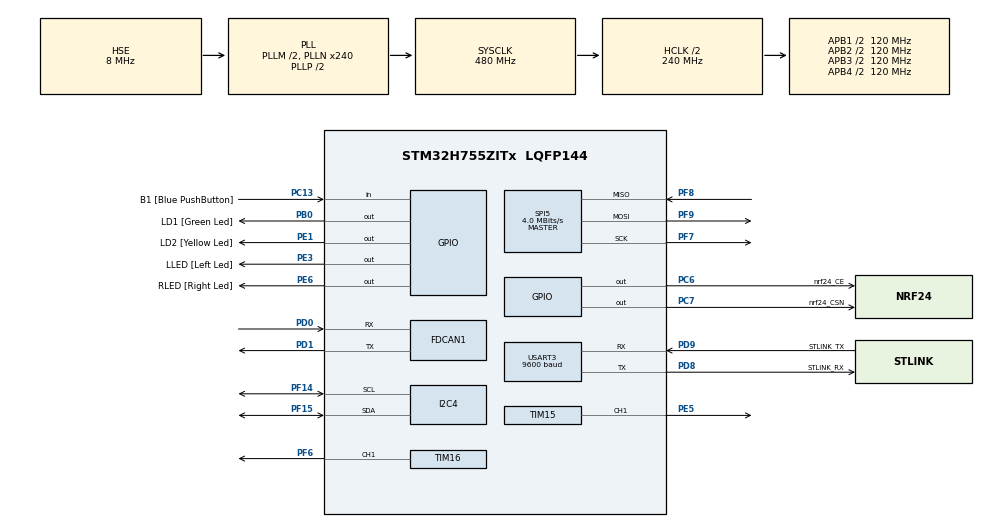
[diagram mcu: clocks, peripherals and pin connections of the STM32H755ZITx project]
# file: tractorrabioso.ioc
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CortexM4.IPs=BDMA,CORTEX_M4\:I,DEBUG,DMA,FATFS_M4\:I,FREERTOS_M4\:I,GPIO,IWDG2\:I,MDMA,NVIC2\:I,OPENAMP_M4\:I,PDM2PCM_M4\:I,PWR,RCC,RESMGR_UTILITY,SYS_M4\:I,USB_DEVICE_M4\:I,USB_HOST_M4\:I,VREFBUF,WWDG2\:I,USART3
CortexM4.Pins=PE1
CortexM7.IPs=BDMA\:I,CORTEX_M7\:I,DEBUG\:I,DMA\:I,FATFS_M7\:I,FREERTOS_M7\:I,GPIO\:I,IWDG1\:I,MDMA\:I,NVIC1\:I,OPENAMP_M7\:I,PDM2PCM_M7\:I,PWR\:I,RCC\:I,RESMGR_UTILITY\:I,SYS\:I,USB_DEVICE_M7\:I,USB_HOST_M7\:I,VREFBUF\:I,WWDG1\:I,USART3\:I,SPI5\:I,TIM16\:I,TIM15\:I,FDCAN1\:I,I2C4\:I,TIM12\:I
CortexM7.Pins=PE3,PE6,PC13,PB0,PC6,PC7
FDCAN1.CalculateBaudRateNominal=500000
FDCAN1.CalculateTimeBitNominal=2000
FDCAN1.CalculateTimeQuantumNominal=50.0
FDCAN1.NominalPrescaler=2
FDCAN1.NominalSyncJumpWidth=8
FDCAN1.NominalTimeSeg1=0x1F
FDCAN1.NominalTimeSeg2=8
FDCAN1.ProtocolException=ENABLE
FDCAN1.RxFifo0ElmtsNbr=1
FDCAN1.StdFiltersNbr=1
FDCAN1.TxFifoQueueElmtsNbr=1
I2C4.Timing=0x00404C74
Mcu.Family=STM32H7
Mcu.Name=STM32H755ZITx
Mcu.Package=LQFP144
NVIC1.PriorityGroup=NVIC_PRIORITYGROUP_4
NVIC1.TIM8_BRK_TIM12_IRQn=true\:0\:0\:false\:false\:true\:true\:true\:true
NVIC2.PriorityGroup=NVIC_PRIORITYGROUP_4
PA13\ (JTMS/SWDIO).GPIO_Label=DEBUG_SWDIO
PA13\ (JTMS/SWDIO).Mode=Serial_Wire
PA13\ (JTMS/SWDIO).PinAttribute=CortexM7
PA13\ (JTMS/SWDIO).Signal=DEBUG_JTMS-SWDIO
PA14\ (JTCK/SWCLK).GPIO_Label=DEBUG_SWCLK
PA14\ (JTCK/SWCLK).Mode=Serial_Wire
PA14\ (JTCK/SWCLK).PinAttribute=CortexM7
PA14\ (JTCK/SWCLK).Signal=DEBUG_JTCK-SWCLK
PB0.GPIO_Label=LD1 [Green Led]
PB0.PinAttribute=CortexM7
PB0.Signal=GPIO_Output
PC13.GPIO_Label=B1 [Blue PushButton]
PC13.PinAttribute=CortexM7
PC13.Signal=GPIO_Input
PC14-OSC32_IN\ (OSC32_IN).Mode=LSE-External-Oscillator
PC14-OSC32_IN\ (OSC32_IN).PinAttribute=CortexM7
PC14-OSC32_IN\ (OSC32_IN).Signal=RCC_OSC32_IN
PC15-OSC32_OUT\ (OSC32_OUT).Mode=LSE-External-Oscillator
PC15-OSC32_OUT\ (OSC32_OUT).PinAttribute=CortexM7
PC15-OSC32_OUT\ (OSC32_OUT).Signal=RCC_OSC32_OUT
PC6.GPIO_Label=nrf24_CE
PC6.PinAttribute=CortexM7
PC6.Signal=GPIO_Output
PC7.GPIO_Label=nrf24_CSN
PC7.PinAttribute=CortexM7
PC7.Signal=GPIO_Output
PD0.Mode=FDCAN_Activate
PD0.PinAttribute=CortexM7
PD0.Signal=FDCAN1_RX
PD1.Mode=FDCAN_Activate
PD1.PinAttribute=CortexM7
PD1.Signal=FDCAN1_TX
PD8.GPIO_Label=STLINK_RX
PD8.Mode=Asynchronous
PD8.PinAttribute=CortexM7
PD8.Signal=USART3_TX
PD9.GPIO_Label=STLINK_TX
PD9.Mode=Asynchronous
PD9.PinAttribute=CortexM7
PD9.Signal=USART3_RX
PE1.GPIO_Label=LD2 [Yellow Led]
PE1.PinAttribute=CortexM4
PE1.Signal=GPIO_Output
PE3.GPIO_Label=LLED [Left Led]
PE3.PinAttribute=CortexM7
PE3.Signal=GPIO_Output
PE5.PinAttribute=CortexM7
PE5.Signal=S_TIM15_CH1
PE6.GPIO_Label=RLED [Right Led]
PE6.PinAttribute=CortexM7
PE6.Signal=GPIO_Output
PF14.Mode=I2C
PF14.PinAttribute=CortexM7
PF14.Signal=I2C4_SCL
PF15.Mode=I2C
PF15.PinAttribute=CortexM7
PF15.Signal=I2C4_SDA
PF6.PinAttribute=CortexM7
PF6.Signal=S_TIM16_CH1
PF7.Mode=Full_Duplex_Master
PF7.PinAttribute=CortexM7
PF7.Signal=SPI5_SCK
PF8.Mode=Full_Duplex_Master
PF8.PinAttribute=CortexM7
PF8.Signal=SPI5_MISO
PF9.Mode=Full_Duplex_Master
PF9.PinAttribute=CortexM7
PF9.Signal=SPI5_MOSI
PH0-OSC_IN\ (PH0).Mode=HSE-External-Clock-Source
PH0-OSC_IN\ (PH0).PinAttribute=CortexM7
PH0-OSC_IN\ (PH0).Signal=RCC_OSC_IN
ProjectManager.HeapSize=M4-0x200,M7-0x200
ProjectManager.StackSize=M4-0x400,M7-0x400
ProjectManager.TargetToolchain=STM32CubeIDE
RCC.ADCFreq_Value=16125000
RCC.APB1Freq_Value=120000000
RCC.APB2Freq_Value=120000000
RCC.APB3Freq_Value=120000000
RCC.APB4Freq_Value=120000000
RCC.CortexFreq_Value=480000000
RCC.D1PPRE=RCC_APB3_DIV2
RCC.D2PPRE1=RCC_APB1_DIV2
RCC.D2PPRE2=RCC_APB2_DIV2
RCC.D3PPRE=RCC_APB4_DIV2
RCC.DIVM1=2
RCC.DIVM3=4
RCC.DIVN1=240
RCC.DIVN3=120
RCC.DIVQ1=24
RCC.DIVR3=12
RCC.HCLKFreq_Value=240000000
RCC.HPRE=RCC_HCLK_DIV2
RCC.HSE_VALUE=8000000
RCC.I2C4CLockSelection=RCC_I2C4CLKSOURCE_PLL3
RCC.PLL3FRACN=0
RCC.PLLFRACN=0
RCC.PLLSourceVirtual=RCC_PLLSOURCE_HSE
RCC.SYSCLKFreq_VALUE=480000000
RCC.SYSCLKSource=RCC_SYSCLKSOURCE_PLLCLK
RCC.Spi45ClockSelection=RCC_SPI45CLKSOURCE_HSI
RCC.USBFreq_Value=40000000
SH.S_TIM15_CH1.0=TIM15_CH1,PWM Generation1 CH1
SH.S_TIM16_CH1.0=TIM16_CH1,PWM Generation1 CH1
SPI5.BaudRatePrescaler=SPI_BAUDRATEPRESCALER_16
SPI5.CalculateBaudRate=4.0 MBits/s
SPI5.DataSize=SPI_DATASIZE_8BIT
SPI5.Direction=SPI_DIRECTION_2LINES
SPI5.Mode=SPI_MODE_MASTER
SPI5.VirtualType=VM_MASTER
SYS.userName=SYS_M7
TIM12.Period=9999
TIM12.Prescaler=23
TIM15.Channel-PWM\ Generation1\ CH1=TIM_CHANNEL_1
TIM15.Period=19999
TIM15.Prescaler=239
TIM16.Channel=TIM_CHANNEL_1
TIM16.Period=19999
TIM16.Prescaler=239
USART3.BaudRate=9600
USART3.VirtualMode-Asynchronous=VM_ASYNC
VP_SYS_M4_VS_Systick.Mode=SysTick
VP_TIM12_VS_ClockSourceINT.Mode=Internal
VP_TIM16_VS_ClockSourceINT.Mode=Enable_Timer
board=custom

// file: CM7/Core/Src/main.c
/* USER CODE BEGIN Header */
/**
  ******************************************************************************
  * @file           : main.c
  * @brief          : Main program body
  ******************************************************************************
  * @attention
  *
  * Copyright (c) 2024 STMicroelectronics.
  * All rights reserved.
  *
  * This software is licensed under terms that can be found in the LICENSE file
  * in the root directory of this software component.
  * If no LICENSE file comes with this software, it is provided AS-IS.
  *
  ******************************************************************************
  */
/* USER CODE END Header */
#include "main.h"

/* USER CODE BEGIN Includes */
#include <MPU6050.h>
#include <stdio.h>
#include "my_nrf24.h"
#include "myprintf.h"
#include "steering.h"
#include "WayPointNotify.h"

/* USER CODE END Includes */

/* USER CODE BEGIN PTD */
typedef union {
	float valuefloat;
	uint8_t valueInt[4];
} valueCanTypedef;
/* USER CODE END PTD */

/* USER CODE BEGIN PD */

#ifndef HSEM_ID_0
#define HSEM_ID_0 (0U) /* HW semaphore 0*/
#endif
/* USER CODE END PD */

FDCAN_HandleTypeDef hfdcan1;

I2C_HandleTypeDef hi2c4;

SPI_HandleTypeDef hspi5;

TIM_HandleTypeDef htim12;
TIM_HandleTypeDef htim15;
TIM_HandleTypeDef htim16;

UART_HandleTypeDef huart3;

/* USER CODE BEGIN PV */
valueCanTypedef valueCAN;
FDCAN_FilterTypeDef sFilterConfig;
FDCAN_TxHeaderTypeDef TxHeader;
FDCAN_RxHeaderTypeDef RxHeader;
uint8_t TxData[8] = {0x10, 0x34, 0x54, 0x76, 0x98, 0x00, 0x11, 0x22};
uint8_t RxData[8];
uint8_t numTurns;
/* USER CODE END PV */

void SystemClock_Config(void);
static void MX_GPIO_Init(void);
static void MX_USART3_UART_Init(void);
static void MX_SPI5_Init(void);
static void MX_TIM16_Init(void);
static void MX_TIM15_Init(void);
static void MX_FDCAN1_Init(void);
static void MX_I2C4_Init(void);
static void MX_TIM12_Init(void);

/* USER CODE BEGIN 0 */

/*Variable definitions for timing code execution*/
volatile uint64_t cntMilisec = 0;

/*Variable definitions for NRF*/
uint64_t RxpipeAddrs = 0x11223344AALL;
char myRxData[50];
uint8_t buffer[6];
char myAckPayload[32] = "Ack by STMF7!";
/* Variables to hold the current waypoint */
static float wpCurrX;
static float wpCurrY;
/* USER CODE END 0 */

int main(void)
{
/* USER CODE BEGIN Boot_Mode_Sequence_0 */
  int32_t timeout;
/* USER CODE END Boot_Mode_Sequence_0 */

/* USER CODE BEGIN Boot_Mode_Sequence_1 */
  /* Wait until CPU2 boots and enters in stop mode or timeout*/
  timeout = 0xFFFF;
  while((__HAL_RCC_GET_FLAG(RCC_FLAG_D2CKRDY) != RESET) && (timeout-- > 0));
  if ( timeout < 0 )
  {
  Error_Handler();
  }
/* USER CODE END Boot_Mode_Sequence_1 */
  /* MCU Configuration--------------------------------------------------------*/

  /* Reset of all peripherals, Initializes the Flash interface and the Systick. */
  HAL_Init();

  /* Configure the system clock */
  SystemClock_Config();
/* USER CODE BEGIN Boot_Mode_Sequence_2 */
/* When system initialization is finished, Cortex-M7 will release Cortex-M4 by means of
HSEM notification */
/*HW semaphore Clock enable*/
__HAL_RCC_HSEM_CLK_ENABLE();
/*Take HSEM */
HAL_HSEM_FastTake(HSEM_ID_0);
/*Release HSEM in order to notify the CPU2(CM4)*/
HAL_HSEM_Release(HSEM_ID_0,0);
/* wait until CPU2 wakes up from stop mode */
timeout = 0xFFFF;
while((__HAL_RCC_GET_FLAG(RCC_FLAG_D2CKRDY) == RESET) && (timeout-- > 0));
if ( timeout < 0 )
{
Error_Handler();
}
/* USER CODE END Boot_Mode_Sequence_2 */

  /* Initialize all configured peripherals */
  MX_GPIO_Init();
  MX_USART3_UART_Init();
  MX_SPI5_Init();
  MX_TIM16_Init();
  MX_TIM15_Init();
  MX_FDCAN1_Init();
  MX_I2C4_Init();
  MX_TIM12_Init();
  /* USER CODE BEGIN 2 */
  //RetargetInit(&huart3);

  NRF24_begin(GPIOC, nrf24_CSN_Pin, nrf24_CE_Pin, hspi5);
  nrf24_DebugUART_Init(huart3);
  NRF24_openReadingPipe(1, RxpipeAddrs);
  NRF24_setAutoAck(false);
  NRF24_setChannel(60);
  NRF24_setPayloadSize(32);
  NRF24_setDataRate(RF24_2MBPS);

  NRF24_enableDynamicPayloads();
  NRF24_enableAckPayload();
  printRadioSettings();
  NRF24_startListening();
  printf("Starting NRF24\r\n");
  HAL_Delay(1000);

  /* USER CODE END 2 */

  /* Infinite loop */
  /* USER CODE BEGIN WHILE */

  initServoTim(htim16);
  initESCTim(htim15);
  mpu6050_init(&hi2c4, AD0_LOW, AFSR_4G, GFSR_500DPS, 0.98, 0.004);

  // Parameters are: uint16_t forwardSpeed, uint16_t turningSpeed, uint16_t forwardTime, uint16_t turningTime, uint16_t turnigAngle
  //hardCodedPath(1350, 1300, 3150, 5080, 150);

  /* Previous time peripherals */
  uint64_t prevTimNRF24 = 0;  /* initial values */
  uint64_t prevTimCAN = 0;
  uint64_t prevTimIMU = 0;
  uint64_t prevTimLED = 0;

  /* Interval time peripherals */
  uint64_t intTimNRF24 = 500;  /* every 500 mili-seconds */
  uint64_t intTimCAN =  200;  /* every 200 miliseconds */
  uint64_t intTimIMU = 500;  /* every 500 miliseconds */
  uint64_t intTimLED = 1000; /* every 1 second */
  uint8_t stateHardCode = 0;
  uint8_t prevStateHardCode = 0;
  uint8_t stateWaypointNotify = 0;
  uint8_t prevStateWPNotify = 0;
  uint8_t counter = 0;

  while (1) {

	/* com
	 if (counter == 0){
		 HAL_GPIO_TogglePin(LD1_GPIO_Port,LD1_Pin);
		 HAL_Delay(100);
		 HAL_GPIO_TogglePin(LD1_GPIO_Port,LD1_Pin);
		 hardCodedPath(1025, 1025, 1300, 2000, 140);
		 HAL_GPIO_TogglePin(LD1_GPIO_Port,LD1_Pin);
		 HAL_Delay(100);
		 HAL_GPIO_TogglePin(LD1_GPIO_Port,LD1_Pin);
		 counter++;
	 } else {
		 stopCar();
	 }
	 com*/

	stateHardCode = PathHardCodeUpdateState(cntMilisec);
	if (stateHardCode != prevStateHardCode){
	  prevStateHardCode = stateHardCode;
	  printf("\n\rCurrent State of HardCoded Path is: %u",stateHardCode);
	}

/*
 Way point list
    {10, 10},
	{50, 30},
	{90, 60},
	{150, 120}
};
 */

	switch(stateHardCode) {
	case 1:
		wpCurrX = 50.0;
	    wpCurrY = 30.0;
	    break;
	case 2:
		wpCurrX = 90.0;
    	wpCurrY = 60.0;
    	break;
	case 3:
		wpCurrX = 150.0;
    	wpCurrY = 120.0;
    	break;
	case 4:
		wpCurrX = 150.0;
    	wpCurrY = 120.0;
    	break;
	}

	stateWaypointNotify = WaypointUpdateState(wpCurrX, wpCurrY);
	if (stateWaypointNotify != prevStateWPNotify){
	  prevStateWPNotify = stateWaypointNotify;
	  printf("\n\rCurrent Waypoint Notify State is: %u",stateWaypointNotify);
	}

	if((cntMilisec - prevTimNRF24) >= intTimNRF24) {                    // Send this at a one second interval.
	    prevTimNRF24 = cntMilisec;
	    char myRxData[50] = "";
	    if(NRF24_available()) {
	       NRF24_read(buffer, 6);
           if(buffer[0] == 0xFF && buffer[1] == 0xFF) {
   	  	     snprintf(myRxData, 32, "Coordinates not found\r\n");
    	   }
           else {
   	  	     snprintf(myRxData, 32, "%u %u %u \r\n", (buffer[0]<<8|buffer[1]), (buffer[2]<<8|buffer[3]), (buffer[4]<<8|buffer[5]));
    	   }
           NRF24_writeAckPayload(1, myAckPayload, 32);
           HAL_UART_Transmit(&huart3, (uint8_t *)myRxData, strlen(myRxData), 10);
        }

	}

	if((cntMilisec - prevTimIMU) >= intTimIMU) {                    // Send this at a one second interval.
	    prevTimIMU = cntMilisec;
	    MPU_readProcessedData(&hi2c4);
	}

    /* USER CODE END WHILE */

    /* USER CODE BEGIN 3 */

	if((cntMilisec - prevTimCAN) >= intTimCAN) {                    // Send this at a one second interval.
	    prevTimCAN = cntMilisec;
    	//if (HAL_FDCAN_GetRxMessage(&hfdcan1, FDCAN_RX_FIFO0, &RxHeader, RxData) != HAL_OK);
    	//HAL_Delay(10);
    	valueCAN.valueInt[0] = RxData[0];
    	valueCAN.valueInt[1] = RxData[1];
    	valueCAN.valueInt[2] = RxData[2];
    	valueCAN.valueInt[3] = RxData[3];
    	numTurns = RxData[4];
    	printf("\n\rCAN ID: %lx", RxHeader.Identifier);
    	//printf("\n\rAdvWheel360: %f  ", valueCAN.valuefloat);
    	//if (direction == true)
    	printf("\n\rNumber of turns: %d",numTurns );
    	//else
    	  //printf("direction: backwards");
	}

	if((cntMilisec - prevTimLED) >= intTimLED) {                    // Send this at a one second interval.
	    prevTimLED = cntMilisec;
	    HAL_GPIO_TogglePin(LD1_GPIO_Port,LD1_Pin);
	}

  }
  /* USER CODE END 3 */
}

void SystemClock_Config(void)
{
  RCC_OscInitTypeDef RCC_OscInitStruct = {0};
  RCC_ClkInitTypeDef RCC_ClkInitStruct = {0};

  /** Supply configuration update enable
  */
  HAL_PWREx_ConfigSupply(PWR_DIRECT_SMPS_SUPPLY);

  /** Configure the main internal regulator output voltage
  */
  __HAL_PWR_VOLTAGESCALING_CONFIG(PWR_REGULATOR_VOLTAGE_SCALE0);

  while(!__HAL_PWR_GET_FLAG(PWR_FLAG_VOSRDY)) {}

  /** Macro to configure the PLL clock source
  */
  __HAL_RCC_PLL_PLLSOURCE_CONFIG(RCC_PLLSOURCE_HSE);

  /** Initializes the RCC Oscillators according to the specified parameters
  * in the RCC_OscInitTypeDef structure.
  */
  RCC_OscInitStruct.OscillatorType = RCC_OSCILLATORTYPE_HSI|RCC_OSCILLATORTYPE_HSE;
  RCC_OscInitStruct.HSEState = RCC_HSE_BYPASS;
  RCC_OscInitStruct.HSIState = RCC_HSI_DIV1;
  RCC_OscInitStruct.HSICalibrationValue = RCC_HSICALIBRATION_DEFAULT;
  RCC_OscInitStruct.PLL.PLLState = RCC_PLL_ON;
  RCC_OscInitStruct.PLL.PLLSource = RCC_PLLSOURCE_HSE;
  RCC_OscInitStruct.PLL.PLLM = 2;
  RCC_OscInitStruct.PLL.PLLN = 240;
  RCC_OscInitStruct.PLL.PLLP = 2;
  RCC_OscInitStruct.PLL.PLLQ = 24;
  RCC_OscInitStruct.PLL.PLLR = 2;
  RCC_OscInitStruct.PLL.PLLRGE = RCC_PLL1VCIRANGE_2;
  RCC_OscInitStruct.PLL.PLLVCOSEL = RCC_PLL1VCOWIDE;
  RCC_OscInitStruct.PLL.PLLFRACN = 0;
  if (HAL_RCC_OscConfig(&RCC_OscInitStruct) != HAL_OK)
  {
    Error_Handler();
  }

  /** Initializes the CPU, AHB and APB buses clocks
  */
  RCC_ClkInitStruct.ClockType = RCC_CLOCKTYPE_HCLK|RCC_CLOCKTYPE_SYSCLK
                              |RCC_CLOCKTYPE_PCLK1|RCC_CLOCKTYPE_PCLK2
                              |RCC_CLOCKTYPE_D3PCLK1|RCC_CLOCKTYPE_D1PCLK1;
  RCC_ClkInitStruct.SYSCLKSource = RCC_SYSCLKSOURCE_PLLCLK;
  RCC_ClkInitStruct.SYSCLKDivider = RCC_SYSCLK_DIV1;
  RCC_ClkInitStruct.AHBCLKDivider = RCC_HCLK_DIV2;
  RCC_ClkInitStruct.APB3CLKDivider = RCC_APB3_DIV2;
  RCC_ClkInitStruct.APB1CLKDivider = RCC_APB1_DIV2;
  RCC_ClkInitStruct.APB2CLKDivider = RCC_APB2_DIV2;
  RCC_ClkInitStruct.APB4CLKDivider = RCC_APB4_DIV2;

  if (HAL_RCC_ClockConfig(&RCC_ClkInitStruct, FLASH_LATENCY_4) != HAL_OK)
  {
    Error_Handler();
  }
}

static void MX_FDCAN1_Init(void)
{

  hfdcan1.Instance = FDCAN1;
  hfdcan1.Init.FrameFormat = FDCAN_FRAME_CLASSIC;
  hfdcan1.Init.Mode = FDCAN_MODE_NORMAL;
  hfdcan1.Init.AutoRetransmission = DISABLE;
  hfdcan1.Init.TransmitPause = DISABLE;
  hfdcan1.Init.ProtocolException = ENABLE;
  hfdcan1.Init.NominalPrescaler = 2;
  hfdcan1.Init.NominalSyncJumpWidth = 8;
  hfdcan1.Init.NominalTimeSeg1 = 0x1F;
  hfdcan1.Init.NominalTimeSeg2 = 8;
  hfdcan1.Init.DataPrescaler = 1;
  hfdcan1.Init.DataSyncJumpWidth = 1;
  hfdcan1.Init.DataTimeSeg1 = 1;
  hfdcan1.Init.DataTimeSeg2 = 1;
  hfdcan1.Init.MessageRAMOffset = 0;
  hfdcan1.Init.StdFiltersNbr = 1;
  hfdcan1.Init.ExtFiltersNbr = 0;
  hfdcan1.Init.RxFifo0ElmtsNbr = 1;
  hfdcan1.Init.RxFifo0ElmtSize = FDCAN_DATA_BYTES_8;
  hfdcan1.Init.RxFifo1ElmtsNbr = 0;
  hfdcan1.Init.RxFifo1ElmtSize = FDCAN_DATA_BYTES_8;
  hfdcan1.Init.RxBuffersNbr = 0;
  hfdcan1.Init.RxBufferSize = FDCAN_DATA_BYTES_8;
  hfdcan1.Init.TxEventsNbr = 0;
  hfdcan1.Init.TxBuffersNbr = 0;
  hfdcan1.Init.TxFifoQueueElmtsNbr = 1;
  hfdcan1.Init.TxFifoQueueMode = FDCAN_TX_FIFO_OPERATION;
  hfdcan1.Init.TxElmtSize = FDCAN_DATA_BYTES_8;
  if (HAL_FDCAN_Init(&hfdcan1) != HAL_OK)
  {
    Error_Handler();
  }
  /* USER CODE BEGIN FDCAN1_Init 2 */
  /*AAO+*/
  /* Configure Rx filter */
  sFilterConfig.IdType = FDCAN_STANDARD_ID;
  sFilterConfig.FilterIndex = 0;
  sFilterConfig.FilterType = FDCAN_FILTER_MASK;
  sFilterConfig.FilterConfig = FDCAN_FILTER_TO_RXFIFO0;
  sFilterConfig.FilterID1 = 0x000;
  sFilterConfig.FilterID2 = 0x000;
  /* Configure global filter to reject all non-matching frames */
  HAL_FDCAN_ConfigGlobalFilter(&hfdcan1, FDCAN_REJECT, FDCAN_REJECT, FDCAN_REJECT_REMOTE,
  FDCAN_REJECT_REMOTE);
  if (HAL_FDCAN_ConfigFilter(&hfdcan1, &sFilterConfig) != HAL_OK)
  {
	  /* Filter configuration Error */
	  Error_Handler();
  }
  /* Start the FDCAN module */
  if (HAL_FDCAN_Start(&hfdcan1) != HAL_OK) {
  }
  /* Start Error */
  if (HAL_FDCAN_ActivateNotification(&hfdcan1, FDCAN_IT_RX_FIFO0_NEW_MESSAGE, 0) != HAL_OK) {
  }
  /* Notification Error */
	  /* Configure Tx buffer message */
	  TxHeader.Identifier = 0x111;
	  TxHeader.IdType = FDCAN_STANDARD_ID;
	  TxHeader.TxFrameType = FDCAN_DATA_FRAME;
	  TxHeader.DataLength = FDCAN_DLC_BYTES_12;
	  TxHeader.ErrorStateIndicator = FDCAN_ESI_ACTIVE;
	  TxHeader.BitRateSwitch = FDCAN_BRS_ON;
	  TxHeader.FDFormat = FDCAN_FD_CAN;
	  TxHeader.TxEventFifoControl = FDCAN_NO_TX_EVENTS;
	  TxHeader.MessageMarker = 0x00;
	  /*AAO-*/
  /* USER CODE END FDCAN1_Init 2 */

}

static void MX_I2C4_Init(void)
{

  hi2c4.Instance = I2C4;
  hi2c4.Init.Timing = 0x00404C74;
  hi2c4.Init.OwnAddress1 = 0;
  hi2c4.Init.AddressingMode = I2C_ADDRESSINGMODE_7BIT;
  hi2c4.Init.DualAddressMode = I2C_DUALADDRESS_DISABLE;
  hi2c4.Init.OwnAddress2 = 0;
  hi2c4.Init.OwnAddress2Masks = I2C_OA2_NOMASK;
  hi2c4.Init.GeneralCallMode = I2C_GENERALCALL_DISABLE;
  hi2c4.Init.NoStretchMode = I2C_NOSTRETCH_DISABLE;
  if (HAL_I2C_Init(&hi2c4) != HAL_OK)
  {
    Error_Handler();
  }

  /** Configure Analogue filter
  */
  if (HAL_I2CEx_ConfigAnalogFilter(&hi2c4, I2C_ANALOGFILTER_ENABLE) != HAL_OK)
  {
    Error_Handler();
  }

  /** Configure Digital filter
  */
  if (HAL_I2CEx_ConfigDigitalFilter(&hi2c4, 0) != HAL_OK)
  {
    Error_Handler();
  }

}

static void MX_SPI5_Init(void)
{

  /* SPI5 parameter configuration*/
  hspi5.Instance = SPI5;
  hspi5.Init.Mode = SPI_MODE_MASTER;
  hspi5.Init.Direction = SPI_DIRECTION_2LINES;
  hspi5.Init.DataSize = SPI_DATASIZE_8BIT;
  hspi5.Init.CLKPolarity = SPI_POLARITY_LOW;
  hspi5.Init.CLKPhase = SPI_PHASE_1EDGE;
  hspi5.Init.NSS = SPI_NSS_SOFT;
  hspi5.Init.BaudRatePrescaler = SPI_BAUDRATEPRESCALER_16;
  hspi5.Init.FirstBit = SPI_FIRSTBIT_MSB;
  hspi5.Init.TIMode = SPI_TIMODE_DISABLE;
  hspi5.Init.CRCCalculation = SPI_CRCCALCULATION_DISABLE;
  hspi5.Init.CRCPolynomial = 0x0;
  hspi5.Init.NSSPMode = SPI_NSS_PULSE_ENABLE;
  hspi5.Init.NSSPolarity = SPI_NSS_POLARITY_LOW;
  hspi5.Init.FifoThreshold = SPI_FIFO_THRESHOLD_01DATA;
  hspi5.Init.TxCRCInitializationPattern = SPI_CRC_INITIALIZATION_ALL_ZERO_PATTERN;
  hspi5.Init.RxCRCInitializationPattern = SPI_CRC_INITIALIZATION_ALL_ZERO_PATTERN;
  hspi5.Init.MasterSSIdleness = SPI_MASTER_SS_IDLENESS_00CYCLE;
  hspi5.Init.MasterInterDataIdleness = SPI_MASTER_INTERDATA_IDLENESS_00CYCLE;
  hspi5.Init.MasterReceiverAutoSusp = SPI_MASTER_RX_AUTOSUSP_DISABLE;
  hspi5.Init.MasterKeepIOState = SPI_MASTER_KEEP_IO_STATE_DISABLE;
  hspi5.Init.IOSwap = SPI_IO_SWAP_DISABLE;
  if (HAL_SPI_Init(&hspi5) != HAL_OK)
  {
    Error_Handler();
  }

}

static void MX_TIM12_Init(void)
{

  TIM_ClockConfigTypeDef sClockSourceConfig = {0};

  htim12.Instance = TIM12;
  htim12.Init.Prescaler = 23;
  htim12.Init.CounterMode = TIM_COUNTERMODE_UP;
  htim12.Init.Period = 9999;
  htim12.Init.ClockDivision = TIM_CLOCKDIVISION_DIV1;
  htim12.Init.AutoReloadPreload = TIM_AUTORELOAD_PRELOAD_DISABLE;
  if (HAL_TIM_Base_Init(&htim12) != HAL_OK)
  {
    Error_Handler();
  }
  sClockSourceConfig.ClockSource = TIM_CLOCKSOURCE_INTERNAL;
  if (HAL_TIM_ConfigClockSource(&htim12, &sClockSourceConfig) != HAL_OK)
  {
    Error_Handler();
  }

}

static void MX_TIM15_Init(void)
{

  TIM_MasterConfigTypeDef sMasterConfig = {0};
  TIM_OC_InitTypeDef sConfigOC = {0};
  TIM_BreakDeadTimeConfigTypeDef sBreakDeadTimeConfig = {0};

  htim15.Instance = TIM15;
  htim15.Init.Prescaler = 239;
  htim15.Init.CounterMode = TIM_COUNTERMODE_UP;
  htim15.Init.Period = 19999;
  htim15.Init.ClockDivision = TIM_CLOCKDIVISION_DIV1;
  htim15.Init.RepetitionCounter = 0;
  htim15.Init.AutoReloadPreload = TIM_AUTORELOAD_PRELOAD_DISABLE;
  if (HAL_TIM_PWM_Init(&htim15) != HAL_OK)
  {
    Error_Handler();
  }
  sMasterConfig.MasterOutputTrigger = TIM_TRGO_RESET;
  sMasterConfig.MasterSlaveMode = TIM_MASTERSLAVEMODE_DISABLE;
  if (HAL_TIMEx_MasterConfigSynchronization(&htim15, &sMasterConfig) != HAL_OK)
  {
    Error_Handler();
  }
  sConfigOC.OCMode = TIM_OCMODE_PWM1;
  sConfigOC.Pulse = 0;
  sConfigOC.OCPolarity = TIM_OCPOLARITY_HIGH;
  sConfigOC.OCNPolarity = TIM_OCNPOLARITY_HIGH;
  sConfigOC.OCFastMode = TIM_OCFAST_DISABLE;
  sConfigOC.OCIdleState = TIM_OCIDLESTATE_RESET;
  sConfigOC.OCNIdleState = TIM_OCNIDLESTATE_RESET;
  if (HAL_TIM_PWM_ConfigChannel(&htim15, &sConfigOC, TIM_CHANNEL_1) != HAL_OK)
  {
    Error_Handler();
  }
  sBreakDeadTimeConfig.OffStateRunMode = TIM_OSSR_DISABLE;
  sBreakDeadTimeConfig.OffStateIDLEMode = TIM_OSSI_DISABLE;
  sBreakDeadTimeConfig.LockLevel = TIM_LOCKLEVEL_OFF;
  sBreakDeadTimeConfig.DeadTime = 0;
  sBreakDeadTimeConfig.BreakState = TIM_BREAK_DISABLE;
  sBreakDeadTimeConfig.BreakPolarity = TIM_BREAKPOLARITY_HIGH;
  sBreakDeadTimeConfig.BreakFilter = 0;
  sBreakDeadTimeConfig.AutomaticOutput = TIM_AUTOMATICOUTPUT_DISABLE;
  if (HAL_TIMEx_ConfigBreakDeadTime(&htim15, &sBreakDeadTimeConfig) != HAL_OK)
  {
    Error_Handler();
  }
  HAL_TIM_MspPostInit(&htim15);

}

static void MX_TIM16_Init(void)
{

  TIM_OC_InitTypeDef sConfigOC = {0};
  TIM_BreakDeadTimeConfigTypeDef sBreakDeadTimeConfig = {0};

  htim16.Instance = TIM16;
  htim16.Init.Prescaler = 239;
  htim16.Init.CounterMode = TIM_COUNTERMODE_UP;
  htim16.Init.Period = 19999;
  htim16.Init.ClockDivision = TIM_CLOCKDIVISION_DIV1;
  htim16.Init.RepetitionCounter = 0;
  htim16.Init.AutoReloadPreload = TIM_AUTORELOAD_PRELOAD_DISABLE;
  if (HAL_TIM_Base_Init(&htim16) != HAL_OK)
  {
    Error_Handler();
  }
  if (HAL_TIM_PWM_Init(&htim16) != HAL_OK)
  {
    Error_Handler();
  }
  sConfigOC.OCMode = TIM_OCMODE_PWM1;
  sConfigOC.Pulse = 0;
  sConfigOC.OCPolarity = TIM_OCPOLARITY_HIGH;
  sConfigOC.OCNPolarity = TIM_OCNPOLARITY_HIGH;
  sConfigOC.OCFastMode = TIM_OCFAST_DISABLE;
  sConfigOC.OCIdleState = TIM_OCIDLESTATE_RESET;
  sConfigOC.OCNIdleState = TIM_OCNIDLESTATE_RESET;
  if (HAL_TIM_PWM_ConfigChannel(&htim16, &sConfigOC, TIM_CHANNEL_1) != HAL_OK)
  {
    Error_Handler();
  }
  sBreakDeadTimeConfig.OffStateRunMode = TIM_OSSR_DISABLE;
  sBreakDeadTimeConfig.OffStateIDLEMode = TIM_OSSI_DISABLE;
  sBreakDeadTimeConfig.LockLevel = TIM_LOCKLEVEL_OFF;
  sBreakDeadTimeConfig.DeadTime = 0;
  sBreakDeadTimeConfig.BreakState = TIM_BREAK_DISABLE;
  sBreakDeadTimeConfig.BreakPolarity = TIM_BREAKPOLARITY_HIGH;
  sBreakDeadTimeConfig.BreakFilter = 0;
  sBreakDeadTimeConfig.AutomaticOutput = TIM_AUTOMATICOUTPUT_DISABLE;
  if (HAL_TIMEx_ConfigBreakDeadTime(&htim16, &sBreakDeadTimeConfig) != HAL_OK)
  {
    Error_Handler();
  }
  HAL_TIM_MspPostInit(&htim16);

}

static void MX_USART3_UART_Init(void)
{

  huart3.Instance = USART3;
  huart3.Init.BaudRate = 9600;
  huart3.Init.WordLength = UART_WORDLENGTH_8B;
  huart3.Init.StopBits = UART_STOPBITS_1;
  huart3.Init.Parity = UART_PARITY_NONE;
  huart3.Init.Mode = UART_MODE_TX_RX;
  huart3.Init.HwFlowCtl = UART_HWCONTROL_NONE;
  huart3.Init.OverSampling = UART_OVERSAMPLING_16;
  huart3.Init.OneBitSampling = UART_ONE_BIT_SAMPLE_DISABLE;
  huart3.Init.ClockPrescaler = UART_PRESCALER_DIV1;
  huart3.AdvancedInit.AdvFeatureInit = UART_ADVFEATURE_NO_INIT;
  if (HAL_UART_Init(&huart3) != HAL_OK)
  {
    Error_Handler();
  }
  if (HAL_UARTEx_SetTxFifoThreshold(&huart3, UART_TXFIFO_THRESHOLD_1_8) != HAL_OK)
  {
    Error_Handler();
  }
  if (HAL_UARTEx_SetRxFifoThreshold(&huart3, UART_RXFIFO_THRESHOLD_1_8) != HAL_OK)
  {
    Error_Handler();
  }
  if (HAL_UARTEx_DisableFifoMode(&huart3) != HAL_OK)
  {
    Error_Handler();
  }

}

static void MX_GPIO_Init(void)
{
  GPIO_InitTypeDef GPIO_InitStruct = {0};

  /* GPIO Ports Clock Enable */
  __HAL_RCC_GPIOE_CLK_ENABLE();
  __HAL_RCC_GPIOC_CLK_ENABLE();
  __HAL_RCC_GPIOF_CLK_ENABLE();
  __HAL_RCC_GPIOH_CLK_ENABLE();
  __HAL_RCC_GPIOB_CLK_ENABLE();
  __HAL_RCC_GPIOD_CLK_ENABLE();
  __HAL_RCC_GPIOA_CLK_ENABLE();

  /*Configure GPIO pin Output Level */
  HAL_GPIO_WritePin(GPIOE, LLED_Pin|RLED_Pin, GPIO_PIN_RESET);

  /*Configure GPIO pin Output Level */
  HAL_GPIO_WritePin(LD1_GPIO_Port, LD1_Pin, GPIO_PIN_RESET);

  /*Configure GPIO pin Output Level */
  HAL_GPIO_WritePin(GPIOC, nrf24_CE_Pin|nrf24_CSN_Pin, GPIO_PIN_RESET);

  /*Configure GPIO pins : LLED_Pin RLED_Pin */
  GPIO_InitStruct.Pin = LLED_Pin|RLED_Pin;
  GPIO_InitStruct.Mode = GPIO_MODE_OUTPUT_PP;
  GPIO_InitStruct.Pull = GPIO_NOPULL;
  GPIO_InitStruct.Speed = GPIO_SPEED_FREQ_LOW;
  HAL_GPIO_Init(GPIOE, &GPIO_InitStruct);

  /*Configure GPIO pin : B1_Pin */
  GPIO_InitStruct.Pin = B1_Pin;
  GPIO_InitStruct.Mode = GPIO_MODE_INPUT;
  GPIO_InitStruct.Pull = GPIO_NOPULL;
  HAL_GPIO_Init(B1_GPIO_Port, &GPIO_InitStruct);

  /*Configure GPIO pin : LD1_Pin */
  GPIO_InitStruct.Pin = LD1_Pin;
  GPIO_InitStruct.Mode = GPIO_MODE_OUTPUT_PP;
  GPIO_InitStruct.Pull = GPIO_NOPULL;
  GPIO_InitStruct.Speed = GPIO_SPEED_FREQ_LOW;
  HAL_GPIO_Init(LD1_GPIO_Port, &GPIO_InitStruct);

  /*Configure GPIO pins : nrf24_CE_Pin nrf24_CSN_Pin */
  GPIO_InitStruct.Pin = nrf24_CE_Pin|nrf24_CSN_Pin;
  GPIO_InitStruct.Mode = GPIO_MODE_OUTPUT_PP;
  GPIO_InitStruct.Pull = GPIO_NOPULL;
  GPIO_InitStruct.Speed = GPIO_SPEED_FREQ_LOW;
  HAL_GPIO_Init(GPIOC, &GPIO_InitStruct);

}

void Error_Handler(void)
{
  __disable_irq();
  while (1)
  {
  }
}
